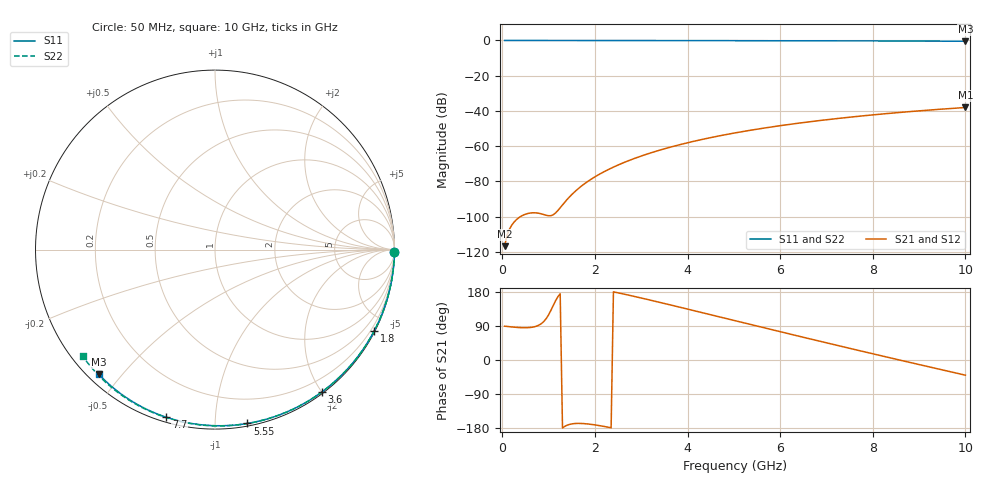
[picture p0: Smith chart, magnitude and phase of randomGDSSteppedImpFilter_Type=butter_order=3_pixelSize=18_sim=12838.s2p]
! freq	dB(S11)	phase(S11)	dB(S12)	phase(S12)
!  dB(S21)	phase(S21)	dB(S22)	phase(S22)
!S-par simulation data
#  GHz  S  DB  R 50
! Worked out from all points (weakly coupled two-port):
!   200 points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, 50 MHz to 10 GHz, reference 50 ohm
!   highest |S21| = -38.06 dB at 10 GHz (marker M1); lowest = -116.8 dB at 50 MHz (marker M2)
!   lowest |S11| = -0.4 dB at 10 GHz (marker M3), VSWR 38.86, Z = 1.53 - j21.8 ohm
!   |S11| at or under -10 dB: nowhere
!   |S22| runs from -0.5 to 0.0 dB; largest |S21 - S12| = 0
!   S11 on the Smith chart (normalised r, x): 50 MHz: open; 1.8 GHz: 0.04, -4.13; 3.6 GHz: 0.02, -2.00; 5.55 GHz: 0.02, -1.20; 7.7 GHz: 0.02, -0.75; 10 GHz: 0.03, -0.44
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0.05  -0.00 -0.8  -116.79 89.3  -116.79 89.3  -0.00 -0.8
0.45  -0.01 -6.9  -99.18 85.1  -99.18 85.1  -0.01 -7.3
0.9  -0.02 -13.7  -98.87 102.1  -98.87 102.1  -0.02 -14.6
1.75  -0.03 -26.5  -81.85 -167.7  -81.85 -167.7  -0.04 -28.1
1.8  -0.03 -27.2  -80.88 -168.2  -80.88 -168.2  -0.04 -28.9
1.85  -0.04 -28.0  -79.97 -168.8  -79.97 -168.8  -0.04 -29.7
2  -0.04 -30.2  -77.44 -171.2  -77.44 -171.2  -0.04 -32.1
2.15  -0.04 -32.4  -75.18 -174.3  -75.18 -174.3  -0.04 -34.4
2.35  -0.05 -35.3  -72.51 -178.9  -72.51 -178.9  -0.05 -37.5
2.55  -0.05 -38.2  -70.14 176.0  -70.14 176.0  -0.05 -40.6
2.95  -0.06 -44.0  -66.07 165.0  -66.07 165.0  -0.06 -46.7
3.4  -0.07 -50.4  -62.27 152.1  -62.27 152.1  -0.07 -53.5
3.6  -0.07 -53.2  -60.78 146.2  -60.78 146.2  -0.08 -56.5
4.3  -0.09 -62.9  -56.28 125.4  -56.28 125.4  -0.09 -66.7
5.05  -0.11 -72.9  -52.38 103.0  -52.38 103.0  -0.12 -77.3
5.55  -0.13 -79.5  -50.17 88.1  -50.17 88.1  -0.14 -84.2
6.1  -0.15 -86.5  -48.02 71.8  -48.02 71.8  -0.16 -91.7
6.7  -0.18 -94.0  -45.95 54.1  -45.95 54.1  -0.19 -99.6
7.7  -0.24 -106.1  -43.03 25.0  -43.03 25.0  -0.26 -112.5
8.35  -0.29 -113.8  -41.40 6.4  -41.40 6.4  -0.31 -120.7
9.2  -0.36 -123.7  -39.55 -17.7  -39.55 -17.7  -0.39 -131.3
10  -0.45 -132.9  -38.06 -40.1  -38.06 -40.1  -0.48 -141.2
